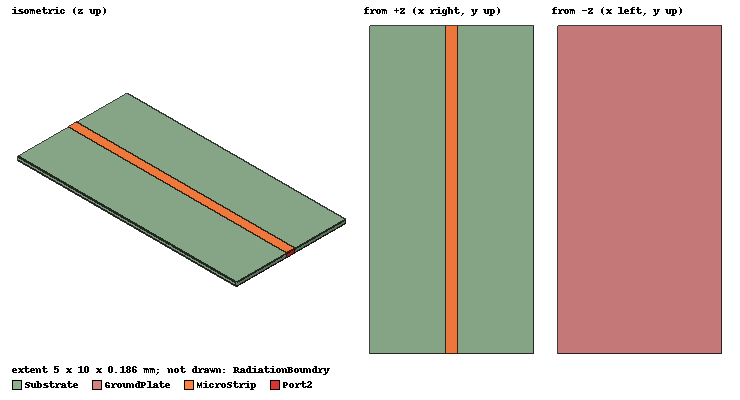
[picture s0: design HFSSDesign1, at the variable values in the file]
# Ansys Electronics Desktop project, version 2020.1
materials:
  vacuum: permittivity=1
  copper: permeability=0.999991 conductivity=58000000
  polyimide: permittivity=3.5 dielectric_loss_tangent=0.008
  air: permittivity=1.0006 permeability=1.0000004
  polyester: permittivity=3.2 dielectric_loss_tangent=0.003
  lead: permeability=0.999983 conductivity=5000000
  LCP: permittivity=pwl($ds_epsr3,Freq) permeability=pwl($ds_mur3,Freq) dielectric_loss_tangent=pwl($ds_tande3,Freq) magnetic_loss_tangent=pwl($ds_tandm3,Freq)

design HFSSDesign1 (HFSS, DrivenModal, model units mm)
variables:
  modelWidth = 5mm
  modelLength = 10mm
  copperThickness = 18um
  substrateThickness = 0.15mm
  stripWidth = 0.365mm
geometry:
  GroundPlate [copper] = rectangle(corner=(0mm, 0mm, 0mm), x_size=modelWidth, y_size=modelLength)
  GroundPlate.thicken(copperThickness)
  Substrate [LCP] = box(corner=(0mm, 0mm, copperThickness), size=(modelWidth, modelLength, substrateThickness))
  MicroStrip [copper] = box(corner=((modelWidth-stripWidth)/2, 0mm, copperThickness+substrateThickness), size=(stripWidth, modelLength, copperThickness))
  RadiationBoundry [air] = box(corner=(-2.5mm, -2.5mm, -2.5mm), size=(modelWidth+5mm, modelLength+5mm, copperThickness*2+substrateThickness+5mm))
  Port1 = rectangle(corner=((modelWidth-stripWidth)/2, 0mm, 0mm), z_size=copperThickness*2 + substrateThickness, x_size=stripWidth)
  Port2 = rectangle(corner=((modelWidth-stripWidth)/2, modelLength, 0mm), z_size=copperThickness*2 + substrateThickness, x_size=stripWidth)
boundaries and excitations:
  Rad1: Radiation Objects=RadiationBoundry
  1: Lumped Port Objects=Port1 Modes{Mode1{IntLine{middle of Port1.edge(z at corner) -> middle of Port1.edge(z opposite corner)} CharImp=Zpi RenormImp=50ohm}} Impedance=50ohm
  2: Lumped Port Objects=Port2 Modes{Mode1{IntLine{middle of Port2.edge(z at corner) -> middle of Port2.edge(z opposite corner)} CharImp=Zpi RenormImp=50ohm}} Impedance=50ohm
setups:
  Setup1: HfssDriven Frequency=5GHz MaxDeltaS=0.02 MaximumPasses=6 MinimumPasses=1 MinimumConvergedPasses=1 PercentRefinement=30 BasisOrder=1 PortAccuracy=2
    sweep Sweep: 2GHz to 7GHz, 50 points; Type=Fast SaveFields
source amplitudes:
  1:1: 1W 0deg
  2:1: 0W 0deg
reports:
  Z Parameter Plot 1: mag(Z(1,2)) vs Freq on Setup1 : Sweep
  S Parameter Plot 1: dB(S(1,1)), dB(S(2,1)), dB(S(1,2)), dB(S(2,2)) vs Freq on Setup1 : Sweep
